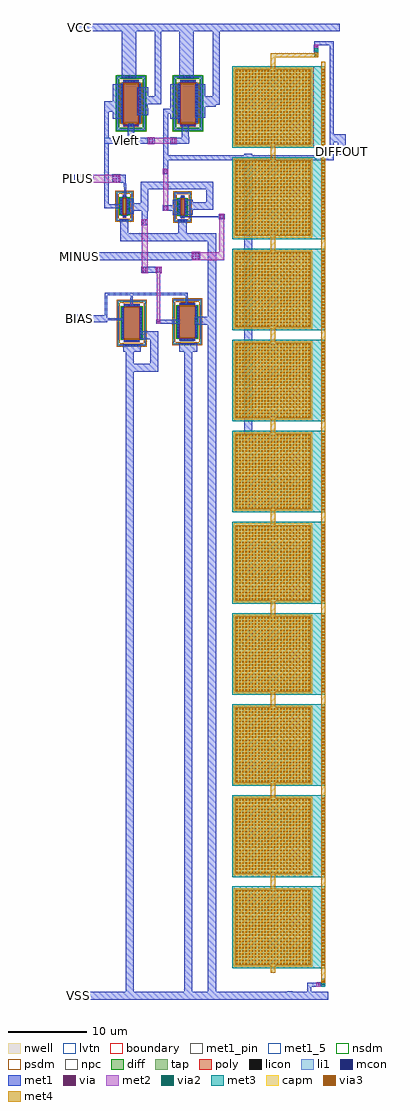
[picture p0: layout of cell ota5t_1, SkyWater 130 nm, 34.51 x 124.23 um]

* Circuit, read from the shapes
.subckt ota5t_1 BIAS DIFFOUT MINUS PLUS VCC VSS Vleft
XM1 n1 PLUS Vleft VSS sky130_fd_pr__nfet_01v8_lvt w=2 l=0.5
XM2 VSS BIAS BIAS VSS sky130_fd_pr__nfet_01v8 w=4 l=2
XM3 VSS BIAS n1 VSS sky130_fd_pr__nfet_01v8 w=4 l=2
XM4 n1 MINUS DIFFOUT VSS sky130_fd_pr__nfet_01v8_lvt w=2 l=0.5
XM5 VCC Vleft Vleft VCC sky130_fd_pr__pfet_01v8_lvt w=5 l=2
XM6 VCC Vleft DIFFOUT VCC sky130_fd_pr__pfet_01v8_lvt w=5 l=2
XC7 DIFFOUT VSS sky130_fd_pr__cap_mim_m3_1 w=10 l=10 m=10
.ends

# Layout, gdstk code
import gdstk
lib = gdstk.Library(unit=1e-6, precision=1e-09)
def R(c, l, rs):  # rectangles x0, y0, x1, y1
    for r in rs: c.add(gdstk.rectangle(r[:2], r[2:], *l))
def A(c, l, x, y, w, h, nx, ny, dx, dy):  # array of equal rectangles
    R(c, l, [(x+i*dx, y+j*dy, x+i*dx+w, y+j*dy+h) for i in range(nx) for j in range(ny)])
nwell = (64, 20)
diff = (65, 20)
tap = (65, 44)
poly = (66, 20)
licon = (66, 44)
li1 = (67, 20)
mcon = (67, 44)
met1_5 = (68, 5)
met1_pin = (68, 16)
met1 = (68, 20)
via = (68, 44)
met2 = (69, 20)
via2 = (69, 44)
met3 = (70, 20)
via3 = (70, 44)
met4 = (71, 20)
capm = (89, 44)
nsdm = (93, 44)
psdm = (94, 20)
npc = (95, 20)
lvtn = (125, 44)
boundary = (235, 4)

sky130_fd_pr__pfet_01v8_ = lib.new_cell('sky130_fd_pr__pfet_01v8_lvt_GWNSVV')
R(sky130_fd_pr__pfet_01v8_, nwell, [(-1.98,-3.595,1.98,3.595)])
R(sky130_fd_pr__pfet_01v8_, diff, [(-1.29,-2.5,1.29,2.5)])
R(sky130_fd_pr__pfet_01v8_, tap, [(-1.8,-3.415,1.8,-3.245), (-1.8,-3.245,-1.63,3.245), (1.63,-3.245,1.8,3.245), (-1.8,3.245,1.8,3.415)])
R(sky130_fd_pr__pfet_01v8_, poly, [(-1,-2.985,1,2.985)])
A(sky130_fd_pr__pfet_01v8_, licon, -1.275, -3.415, 0.17, 0.17, 8, 2, 0.34, 6.66)
A(sky130_fd_pr__pfet_01v8_, licon, -0.765, -2.905, 0.17, 0.17, 5, 2, 0.34, 5.64)
A(sky130_fd_pr__pfet_01v8_, licon, -1.8, -2.805, 0.17, 0.17, 1, 17, 0, 0.34)
A(sky130_fd_pr__pfet_01v8_, licon, 1.63, -2.805, 0.17, 0.17, 1, 17, 0, 0.34)
A(sky130_fd_pr__pfet_01v8_, licon, -1.23, -2.295, 0.17, 0.17, 1, 14, 0, 0.34)
A(sky130_fd_pr__pfet_01v8_, licon, 1.06, -2.295, 0.17, 0.17, 1, 14, 0, 0.34)
R(sky130_fd_pr__pfet_01v8_, li1, [(-1.8,-3.415,1.8,-3.245), (-1.8,-3.245,-1.63,3.245), (1.63,-3.245,1.8,3.245), (-1,-2.905,1,-2.735), (-1.23,-2.52,-1.06,2.52), (1.06,-2.52,1.23,2.52), (-1,2.735,1,2.905), (-1.8,3.245,1.8,3.415)])
A(sky130_fd_pr__pfet_01v8_, mcon, -0.805, -2.905, 0.17, 0.17, 5, 2, 0.36, 5.64)
A(sky130_fd_pr__pfet_01v8_, mcon, -1.23, -2.425, 0.17, 0.17, 1, 14, 0, 0.36)
A(sky130_fd_pr__pfet_01v8_, mcon, 1.06, -2.425, 0.17, 0.17, 1, 14, 0, 0.36)
R(sky130_fd_pr__pfet_01v8_, met1, [(-0.98,-2.935,0.98,-2.705), (-1.26,-2.5,-1.03,2.5), (1.03,-2.5,1.26,2.5), (-0.98,2.705,0.98,2.935)])
R(sky130_fd_pr__pfet_01v8_, nsdm, [(-1.925,-3.54,1.925,-3.12), (-1.925,-3.12,-1.505,3.12), (1.505,-3.12,1.925,3.12), (-1.925,3.12,1.925,3.54)])
R(sky130_fd_pr__pfet_01v8_, psdm, [(-1.415,-2.625,1.415,2.625)])
R(sky130_fd_pr__pfet_01v8_, npc, [(-0.865,-3.005,0.865,-2.635), (-0.865,2.635,0.865,3.005)])
R(sky130_fd_pr__pfet_01v8_, lvtn, [(-1.18,-2.68,1.18,2.68)])
R(sky130_fd_pr__pfet_01v8_, boundary, [(-1.715,-3.33,1.715,3.33)])

sky130_fd_pr__nfet_01v8_ = lib.new_cell('sky130_fd_pr__nfet_01v8_lvt_8TEWK3')
R(sky130_fd_pr__nfet_01v8_, diff, [(-0.54,-1,0.54,1)])
R(sky130_fd_pr__nfet_01v8_, tap, [(-1.05,-1.87,1.05,-1.7), (-1.05,-1.7,-0.88,1.7), (0.88,-1.7,1.05,1.7), (-1.05,1.7,1.05,1.87)])
R(sky130_fd_pr__nfet_01v8_, poly, [(-0.25,-1.44,0.25,1.44)])
A(sky130_fd_pr__nfet_01v8_, licon, -0.425, -1.87, 0.17, 0.17, 3, 2, 0.34, 3.57)
A(sky130_fd_pr__nfet_01v8_, licon, -1.05, -1.275, 0.17, 0.17, 1, 8, 0, 0.34)
A(sky130_fd_pr__nfet_01v8_, licon, 0.88, -1.275, 0.17, 0.17, 1, 8, 0, 0.34)
A(sky130_fd_pr__nfet_01v8_, licon, -0.48, -0.935, 0.17, 0.17, 1, 6, 0, 0.34)
A(sky130_fd_pr__nfet_01v8_, licon, 0.31, -0.935, 0.17, 0.17, 1, 6, 0, 0.34)
R(sky130_fd_pr__nfet_01v8_, licon, [(-0.085,-1.36,0.085,-1.19), (-0.085,1.19,0.085,1.36)])
R(sky130_fd_pr__nfet_01v8_, li1, [(-1.05,-1.87,1.05,-1.7), (-1.05,-1.7,-0.88,1.7), (0.88,-1.7,1.05,1.7), (-0.25,-1.36,0.25,-1.19), (-0.48,-1.02,-0.31,1.02), (0.31,-1.02,0.48,1.02), (-0.25,1.19,0.25,1.36), (-1.05,1.7,1.05,1.87)])
A(sky130_fd_pr__nfet_01v8_, mcon, -0.48, -0.805, 0.17, 0.17, 1, 5, 0, 0.36)
A(sky130_fd_pr__nfet_01v8_, mcon, 0.31, -0.805, 0.17, 0.17, 1, 5, 0, 0.36)
R(sky130_fd_pr__nfet_01v8_, mcon, [(-0.085,-1.36,0.085,-1.19), (-0.085,1.19,0.085,1.36)])
R(sky130_fd_pr__nfet_01v8_, met1, [(-0.23,-1.39,0.23,-1.16), (-0.51,-1,-0.28,1), (0.28,-1,0.51,1), (-0.23,1.16,0.23,1.39)])
R(sky130_fd_pr__nfet_01v8_, nsdm, [(-0.665,-1.125,0.665,1.125)])
R(sky130_fd_pr__nfet_01v8_, psdm, [(-1.175,-1.995,1.175,-1.575), (-1.175,-1.575,-0.755,1.575), (0.755,-1.575,1.175,1.575), (-1.175,1.575,1.175,1.995)])
R(sky130_fd_pr__nfet_01v8_, npc, [(-0.185,-1.46,0.185,-1.09), (-0.185,1.09,0.185,1.46)])
R(sky130_fd_pr__nfet_01v8_, lvtn, [(-0.43,-1.18,0.43,1.18)])
R(sky130_fd_pr__nfet_01v8_, boundary, [(-0.96,-1.78,0.96,1.78)])

c_sky130_fd_pr__nfet_01v8_ = lib.new_cell('sky130_fd_pr__nfet_01v8_AHRV9L')
R(c_sky130_fd_pr__nfet_01v8_, diff, [(-1.29,-2,1.29,2)])
R(c_sky130_fd_pr__nfet_01v8_, tap, [(-1.8,-2.87,1.8,-2.7), (-1.8,-2.7,-1.63,2.7), (1.63,-2.7,1.8,2.7), (-1.8,2.7,1.8,2.87)])
R(c_sky130_fd_pr__nfet_01v8_, poly, [(-1,-2.44,1,2.44)])
A(c_sky130_fd_pr__nfet_01v8_, licon, -1.275, -2.87, 0.17, 0.17, 8, 2, 0.34, 5.57)
A(c_sky130_fd_pr__nfet_01v8_, licon, -0.765, -2.36, 0.17, 0.17, 5, 2, 0.34, 4.55)
A(c_sky130_fd_pr__nfet_01v8_, licon, -1.8, -2.295, 0.17, 0.17, 1, 14, 0, 0.34)
A(c_sky130_fd_pr__nfet_01v8_, licon, 1.63, -2.295, 0.17, 0.17, 1, 14, 0, 0.34)
A(c_sky130_fd_pr__nfet_01v8_, licon, -1.23, -1.785, 0.17, 0.17, 1, 11, 0, 0.34)
A(c_sky130_fd_pr__nfet_01v8_, licon, 1.06, -1.785, 0.17, 0.17, 1, 11, 0, 0.34)
R(c_sky130_fd_pr__nfet_01v8_, li1, [(-1.8,-2.87,1.8,-2.7), (-1.8,-2.7,-1.63,2.7), (1.63,-2.7,1.8,2.7), (-1,-2.36,1,-2.19), (-1.23,-2.02,-1.06,2.02), (1.06,-2.02,1.23,2.02), (-1,2.19,1,2.36), (-1.8,2.7,1.8,2.87)])
A(c_sky130_fd_pr__nfet_01v8_, mcon, -0.805, -2.36, 0.17, 0.17, 5, 2, 0.36, 4.55)
A(c_sky130_fd_pr__nfet_01v8_, mcon, -1.23, -1.885, 0.17, 0.17, 1, 11, 0, 0.36)
A(c_sky130_fd_pr__nfet_01v8_, mcon, 1.06, -1.885, 0.17, 0.17, 1, 11, 0, 0.36)
R(c_sky130_fd_pr__nfet_01v8_, met1, [(-0.98,-2.39,0.98,-2.16), (-1.26,-2,-1.03,2), (1.03,-2,1.26,2), (-0.98,2.16,0.98,2.39)])
R(c_sky130_fd_pr__nfet_01v8_, nsdm, [(-1.415,-2.125,1.415,2.125)])
R(c_sky130_fd_pr__nfet_01v8_, psdm, [(-1.925,-2.995,1.925,-2.575), (-1.925,-2.575,-1.505,2.575), (1.505,-2.575,1.925,2.575), (-1.925,2.575,1.925,2.995)])
R(c_sky130_fd_pr__nfet_01v8_, npc, [(-0.865,-2.46,0.865,-2.09), (-0.865,2.09,0.865,2.46)])
R(c_sky130_fd_pr__nfet_01v8_, boundary, [(-1.71,-2.78,1.71,2.78)])

sky130_fd_pr__cap_mim_m3 = lib.new_cell('sky130_fd_pr__cap_mim_m3_1_72JAQ7')
A(sky130_fd_pr__cap_mim_m3, met3, -5.93, -57.4, 11.86, 10.4, 1, 10, 0, 11.6)
A(sky130_fd_pr__cap_mim_m3, via3, 5.57, -57.1, 0.2, 0.2, 1, 25, 0, 0.4)
A(sky130_fd_pr__cap_mim_m3, via3, -5.43, -56.9, 0.2, 0.2, 24, 24, 0.4, 0.4)
A(sky130_fd_pr__cap_mim_m3, via3, 5.57, -45.5, 0.2, 0.2, 1, 25, 0, 0.4)
A(sky130_fd_pr__cap_mim_m3, via3, -5.43, -45.3, 0.2, 0.2, 24, 24, 0.4, 0.4)
A(sky130_fd_pr__cap_mim_m3, via3, 5.57, -33.9, 0.2, 0.2, 1, 25, 0, 0.4)
A(sky130_fd_pr__cap_mim_m3, via3, -5.43, -33.7, 0.2, 0.2, 24, 24, 0.4, 0.4)
A(sky130_fd_pr__cap_mim_m3, via3, 5.57, -22.3, 0.2, 0.2, 1, 25, 0, 0.4)
A(sky130_fd_pr__cap_mim_m3, via3, -5.43, -22.1, 0.2, 0.2, 24, 24, 0.4, 0.4)
A(sky130_fd_pr__cap_mim_m3, via3, 5.57, -10.7, 0.2, 0.2, 1, 25, 0, 0.4)
A(sky130_fd_pr__cap_mim_m3, via3, -5.43, -10.5, 0.2, 0.2, 24, 24, 0.4, 0.4)
A(sky130_fd_pr__cap_mim_m3, via3, 5.57, 0.9, 0.2, 0.2, 1, 25, 0, 0.4)
A(sky130_fd_pr__cap_mim_m3, via3, -5.43, 1.1, 0.2, 0.2, 24, 24, 0.4, 0.4)
A(sky130_fd_pr__cap_mim_m3, via3, 5.57, 12.5, 0.2, 0.2, 1, 25, 0, 0.4)
A(sky130_fd_pr__cap_mim_m3, via3, -5.43, 12.7, 0.2, 0.2, 24, 24, 0.4, 0.4)
A(sky130_fd_pr__cap_mim_m3, via3, 5.57, 24.1, 0.2, 0.2, 1, 25, 0, 0.4)
A(sky130_fd_pr__cap_mim_m3, via3, -5.43, 24.3, 0.2, 0.2, 24, 24, 0.4, 0.4)
A(sky130_fd_pr__cap_mim_m3, via3, 5.57, 35.7, 0.2, 0.2, 1, 25, 0, 0.4)
A(sky130_fd_pr__cap_mim_m3, via3, -5.43, 35.9, 0.2, 0.2, 24, 24, 0.4, 0.4)
A(sky130_fd_pr__cap_mim_m3, via3, 5.57, 47.3, 0.2, 0.2, 1, 25, 0, 0.4)
A(sky130_fd_pr__cap_mim_m3, via3, -5.43, 47.5, 0.2, 0.2, 24, 24, 0.4, 0.4)
A(sky130_fd_pr__cap_mim_m3, met4, -5.535, -57.005, 9.61, 9.61, 1, 10, 0, 11.6)
A(sky130_fd_pr__cap_mim_m3, met4, -0.99, -47.395, 0.52, 1.99, 1, 9, 0, 11.6)
R(sky130_fd_pr__cap_mim_m3, met4, [(-0.99,-58,-0.47,-57.005), (5.41,-58,5.93,58), (-0.99,57.005,-0.47,58)])
A(sky130_fd_pr__cap_mim_m3, capm, -5.73, -57.2, 10, 10, 1, 10, 0, 11.6)
R(sky130_fd_pr__cap_mim_m3, boundary, [(-5.93,47,4.47,57.4)])

ota5t_1 = lib.new_cell('ota5t_1')
R(ota5t_1, li1, [(6.25,-28.59,8.04,-28.36), (13.47,-28.42,15.21,-28.23), (13.25,-12.8,14,-12.54), (5.83,-12.68,6.58,-12.48), (6.38,5.56,7.31,5.73), (13.7,5.56,14.66,5.73)])
A(ota5t_1, mcon, 6.34, -28.56, 0.17, 0.17, 5, 1, 0.36, 0)
A(ota5t_1, mcon, 13.535, -28.41, 0.17, 0.17, 5, 1, 0.36, 0)
A(ota5t_1, mcon, 6.4, 5.56, 0.17, 0.17, 3, 1, 0.36, 0)
A(ota5t_1, mcon, 13.735, 5.56, 0.17, 0.17, 3, 1, 0.36, 0)
R(ota5t_1, mcon, [(13.36,-12.755,13.53,-12.585), (13.72,-12.755,13.89,-12.585), (5.94,-12.665,6.11,-12.495), (6.3,-12.665,6.47,-12.495)])
R(ota5t_1, met1_5, [(3.705,-2.86,9.235,-2.05)])
R(ota5t_1, met1_pin, [(-0.05,-111.76,0.95,-110.76), (0.03,-25.58,1.03,-24.58), (0,-17.64,1,-16.64), (-0.12,-7.78,0.88,-6.78), (33.39,-4.26,34.39,-3.26), (-0.03,11.47,0.97,12.47)])
R(ota5t_1, met1, [(-0.05,-111.76,32.21,-110.76), (6.42,-110.76,7.42,-31.87), (13.86,-110.76,14.86,-29.34), (16.865,-110.76,17.915,-25.905), (27.06,-110.76,27.58,-110.74), (29.51,-110.76,30.03,-110.12), (30.71,-110.15,31.23,-110.12), (29.51,-110.12,31.23,-109.6), (30.71,-109.6,31.23,-109.57), (21.52,-39.87,22.52,-4.95), (6.42,-31.87,10.55,-30.87), (6.42,-30.87,7.42,-29.3), (9.55,-30.87,10.55,-27.69), (13.22,-29.34,15.51,-28.2), (6.07,-29.3,8.31,-28.33), (8.25,-27.69,10.55,-26.69), (15.225,-25.905,17.915,-24.855), (10.315,-25.73,13.29,-25.25), (0.03,-25.58,1.03,-25.525), (0.03,-25.525,4.035,-25.32), (0.03,-25.32,6.07,-25.04), (0.03,-25.04,4.04,-24.635), (16.865,-24.855,17.915,-15.26), (0.03,-24.635,1.03,-24.58), (3.76,-24.635,4.04,-22.09), (6.18,-23.53,8.2,-23.25), (14.04,-23.36,14.32,-22.09), (7.01,-23.25,7.29,-22.77), (7.01,-22.77,7.31,-22.53), (7.03,-22.53,7.31,-22.09), (3.76,-22.09,14.32,-21.81), (8.4,-19.26,11,-18.495), (0,-17.64,15.87,-16.64), (5.695,-15.26,17.915,-14.21), (5.695,-14.21,6.745,-12.425), (13.1,-14.21,14.15,-12.465), (8.43,-13.21,9.195,-11.36), (18.275,-12.46,18.99,-12.215), (13.335,-12.215,18.99,-12.045), (18.275,-12.045,18.99,-11.805), (12.41,-11.9,13.34,-11.34), (13.9,-11.88,14.91,-11.23), (6.52,-11.73,7.46,-11.36), (6.52,-11.36,9.28,-10.42), (11.13,-11.34,13.34,-10.68), (13.9,-11.23,17.58,-10.29), (3.705,-11.045,5.975,-10.51), (12.41,-10.68,13.34,-9.94), (3.705,-10.51,4.24,-2.86), (6.52,-10.42,7.46,-9.82), (8.34,-10.42,9.28,-8.62), (13.9,-10.29,14.91,-9.94), (16.64,-10.29,17.58,-8.62), (6.195,-9.625,6.445,-8.28), (8.34,-8.62,17.58,-7.68), (6.16,-8.28,6.445,-7.925), (6.16,-7.925,6.43,-7.77), (4.69,-7.81,5.94,-7.77), (-0.12,-7.78,2.31,-6.78), (4.69,-7.77,6.43,-6.78), (4.69,-6.78,5.69,-6.75), (11.16,-6.69,11.82,-4.95), (11.16,-4.95,32.88,-4.29), (11.16,-4.29,11.82,0.98), (21.52,-4.29,22.52,-4.12), (32.36,-4.29,32.88,-2.79), (33.39,-4.26,34.39,-2.65), (12.075,-2.89,12.885,-2.86), (3.705,-2.86,10.075,-2.05), (12.075,-2.86,14.445,-2.8), (12.075,-2.8,14.5,-2.05), (32.36,-2.79,32.9,-2.65), (32.36,-2.65,34.39,-1.65), (3.705,-2.05,4.24,1.215), (6.695,-2.05,7.505,-0.315), (12.075,-2.05,12.885,-2.02), (13.57,-2.05,14.5,-1.99), (13.57,-1.99,14.44,-0.395), (32.36,-1.65,32.88,9.71), (4.73,0.32,6.06,1.215), (12.07,0.32,13.34,0.98), (15.23,0.45,16.56,1.885), (7.9,0.76,9.26,1.71), (11.16,0.98,13.34,1.64), (3.69,1.215,6.06,2.545), (12.07,1.64,13.34,4.72), (7.9,1.71,9.24,2.17), (15.23,1.885,17.895,2.105), (15.23,2.105,18.365,3.215), (7.9,2.17,10.91,3.2), (4.73,2.545,6.06,4.72), (7.9,3.2,9.26,4.34), (10.09,3.2,10.91,11.47), (15.23,3.215,16.56,4.75), (17.47,3.215,18.365,11.47), (13.225,5.495,15.04,11.47), (5.9,5.52,7.745,11.47), (30.36,9.24,30.94,9.71), (30.36,9.71,32.88,9.76), (30.39,9.76,32.88,10.23), (-0.03,11.47,33.63,12.47)])
A(ota5t_1, via, 14.945, -17.535, 0.15, 0.15, 3, 3, 0.32, 0.32)
A(ota5t_1, via, 1.385, -7.675, 0.15, 0.15, 3, 3, 0.32, 0.32)
A(ota5t_1, via, 4.795, -7.67, 0.15, 0.15, 3, 3, 0.32, 0.32)
R(ota5t_1, via, [(30.895,-109.935,31.045,-109.785), (10.51,-25.565,10.66,-25.415), (8.575,-19.115,8.725,-18.965), (8.895,-19.115,9.045,-18.965), (10.35,-19.115,10.5,-18.965), (10.67,-19.115,10.82,-18.965), (8.575,-18.795,8.725,-18.645), (8.895,-18.795,9.045,-18.645), (10.35,-18.795,10.5,-18.645), (10.67,-18.795,10.82,-18.645), (8.575,-13.035,8.725,-12.885), (8.895,-13.035,9.045,-12.885), (8.575,-12.715,8.725,-12.565), (8.895,-12.715,9.045,-12.565), (18.395,-12.37,18.545,-12.22), (18.715,-12.37,18.865,-12.22), (18.395,-12.05,18.545,-11.9), (18.715,-12.05,18.865,-11.9), (11.255,-11.245,11.405,-11.095), (11.575,-11.245,11.725,-11.095), (11.255,-10.925,11.405,-10.775), (11.575,-10.925,11.725,-10.775), (11.255,-6.565,11.405,-6.415), (11.575,-6.565,11.725,-6.415), (11.255,-6.245,11.405,-6.095), (11.575,-6.245,11.725,-6.095), (9.405,-2.69,9.555,-2.54), (9.725,-2.69,9.875,-2.54), (12.245,-2.69,12.395,-2.54), (12.565,-2.69,12.715,-2.54), (9.405,-2.37,9.555,-2.22), (9.725,-2.37,9.875,-2.22), (12.245,-2.37,12.395,-2.22), (12.565,-2.37,12.715,-2.22), (30.575,9.425,30.725,9.575)])
R(ota5t_1, met2, [(31.315,-110.14,31.785,-110.12), (30.68,-110.12,31.81,-109.6), (31.315,-109.6,31.785,-109.58), (10.345,-25.76,10.825,-19.29), (8.43,-19.29,9.195,-13.18), (10.205,-19.29,10.97,-18.465), (14.84,-17.67,15.84,-17.64), (14.84,-17.64,18.96,-16.64), (14.84,-16.64,15.84,-16.61), (18.305,-16.64,18.96,-11.775), (8.4,-13.18,9.225,-12.415), (11.16,-11.37,11.82,-6.66), (1.28,-7.81,2.28,-7.78), (1.28,-7.78,4.4,-7.77), (1.28,-7.77,5.72,-6.78), (1.28,-6.78,2.28,-6.75), (11.13,-6.66,11.85,-6), (9.235,-2.89,10.045,-2.86), (9.235,-2.86,12.915,-2.05), (9.235,-2.05,10.045,-2.02), (30.39,8.79,30.91,8.815), (30.37,8.815,30.93,9.285), (30.39,9.285,30.91,9.79)])
R(ota5t_1, via2, [(31.45,-109.96,31.65,-109.76), (30.55,8.95,30.75,9.15)])
R(ota5t_1, met3, [(31.29,-110.12,31.81,-109.13), (31.295,-109.13,31.805,-109.105), (30.395,8.175,30.905,8.2), (30.39,8.2,30.91,9.31)])
R(ota5t_1, via3, [(31.45,-109.49,31.65,-109.29), (30.55,8.36,30.75,8.56)])
R(ota5t_1, met4, [(31.29,-109.65,31.81,-107.85), (24.89,7.09,25.41,8.19), (24.89,8.19,30.93,8.71), (30.39,8.71,30.93,8.72)])
ota5t_1.add(gdstk.Reference(sky130_fd_pr__pfet_01v8_, (14.32,2.315)))
ota5t_1.add(gdstk.Reference(sky130_fd_pr__nfet_01v8_, (6.25,-10.79)))
ota5t_1.add(gdstk.Reference(sky130_fd_pr__nfet_01v8_, (13.65,-10.87)))
ota5t_1.add(gdstk.Reference(c_sky130_fd_pr__nfet_01v8_, (7.17,-25.67)))
ota5t_1.add(gdstk.Reference(sky130_fd_pr__pfet_01v8_, (7.09,2.315)))
ota5t_1.add(gdstk.Reference(c_sky130_fd_pr__nfet_01v8_, (14.24,-25.5)))
ota5t_1.add(gdstk.Reference(sky130_fd_pr__cap_mim_m3, (25.88,-50.37)))
ota5t_1.add(gdstk.Label('Vleft', (6.47,-2.455), layer=68, texttype=5))
ota5t_1.add(gdstk.Label('VCC', (0.47,11.97), layer=68, texttype=5))
ota5t_1.add(gdstk.Label('DIFFOUT', (33.89,-3.76), layer=68, texttype=5))
ota5t_1.add(gdstk.Label('BIAS', (0.53,-25.08), layer=68, texttype=5))
ota5t_1.add(gdstk.Label('MINUS', (0.5,-17.14), layer=68, texttype=5))
ota5t_1.add(gdstk.Label('PLUS', (0.38,-7.28), layer=68, texttype=5))
ota5t_1.add(gdstk.Label('VSS', (0.45,-111.26), layer=68, texttype=5))

lib.write_gds('ota5t_1.gds')
